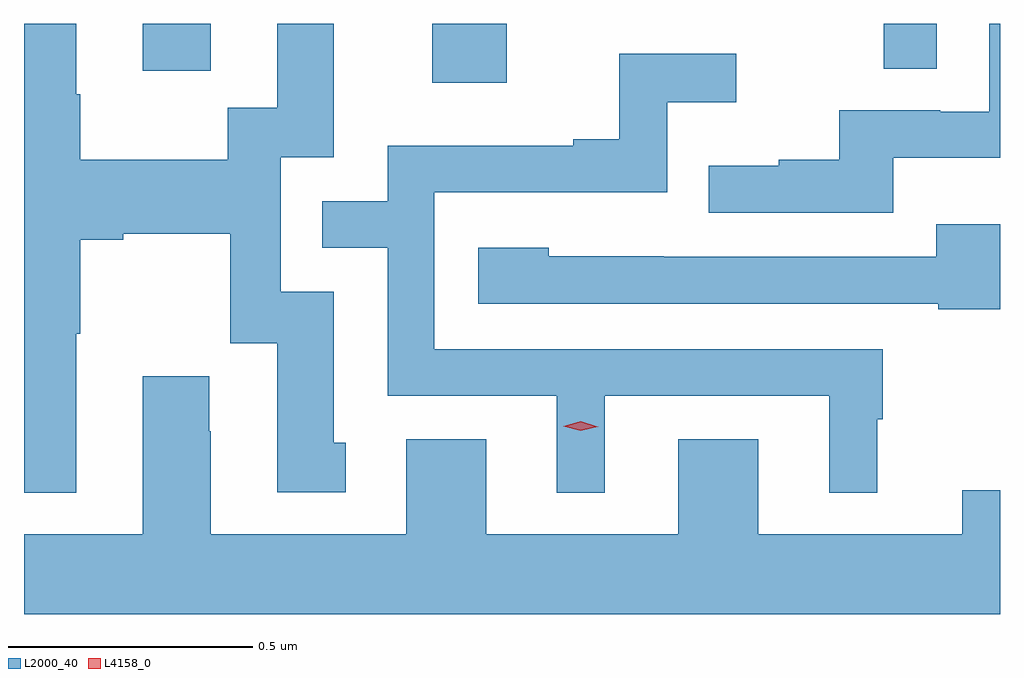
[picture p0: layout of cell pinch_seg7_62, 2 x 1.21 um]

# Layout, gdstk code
import gdstk
lib = gdstk.Library(unit=1e-6, precision=1e-09)
def R(c, l, rs):  # rectangles x0, y0, x1, y1
    for r in rs: c.add(gdstk.rectangle(r[:2], r[2:], *l))
def P(c, l, *ps):  # polygons
    for p in ps: c.add(gdstk.Polygon(p, *l))
L2000_40 = (2000, 40)
L4158_0 = (4158, 0)

pinch_seg7_62 = lib.new_cell('pinch_seg7_62')
R(pinch_seg7_62, L2000_40, [(889.577,1080.294,889.729,1080.415), (888.983,1080.318,889.123,1080.415), (890.502,1080.322,890.61,1080.415)])
P(pinch_seg7_62, L2000_40, [(890.521,1080.14),(890.74,1080.14),(890.74,1080.415),(890.718,1080.415),(890.718,1080.234),(890.618,1080.234),(890.618,1080.237),(890.411,1080.237),(890.411,1080.136),(890.287,1080.136),(890.287,1080.124),(890.143,1080.124),(890.143,1080.027),(890.521,1080.027)],
  [(888.847,1079.779),(888.855,1079.779),(888.855,1079.972),(888.943,1079.972),(888.943,1079.984),(889.163,1079.984),(889.163,1079.76),(889.259,1079.76),(889.259,1079.454),(889.399,1079.454),(889.399,1079.556),(889.375,1079.556),(889.375,1079.865),(889.266,1079.865),(889.266,1080.141),(889.375,1080.141),(889.375,1080.415),(889.259,1080.415),(889.259,1080.242),(889.158,1080.242),(889.158,1080.136),(888.855,1080.136),(888.855,1080.27),(888.847,1080.27),(888.847,1080.415),(888.74,1080.415),(888.74,1079.453),(888.847,1079.453)],
  [(889.93,1079.652),(890.39,1079.652),(890.39,1079.453),(890.488,1079.453),(890.488,1079.604),(890.5,1079.604),(890.5,1079.748),(889.581,1079.748),(889.581,1080.069),(890.058,1080.069),(890.058,1080.254),(890.2,1080.254),(890.2,1080.353),(889.96,1080.353),(889.96,1080.178),(889.865,1080.178),(889.865,1080.165),(889.485,1080.165),(889.485,1080.051),(889.351,1080.051),(889.351,1079.955),(889.485,1079.955),(889.485,1079.652),(889.832,1079.652),(889.832,1079.453),(889.93,1079.453)],
  [(890.74,1080.004),(890.609,1080.004),(890.609,1079.937),(890.051,1079.937),(890.051,1079.938),(889.815,1079.938),(889.815,1079.956),(889.671,1079.956),(889.671,1079.841),(890.613,1079.841),(890.613,1079.829),(890.74,1079.829)],
  [(890.74,1079.459),(890.663,1079.459),(890.663,1079.368),(890.245,1079.368),(890.245,1079.563),(890.081,1079.563),(890.081,1079.368),(889.687,1079.368),(889.687,1079.563),(889.523,1079.563),(889.523,1079.368),(889.123,1079.368),(889.123,1079.579),(889.12,1079.579),(889.12,1079.692),(888.983,1079.692),(888.983,1079.368),(888.74,1079.368),(888.74,1079.204),(890.74,1079.204)])
P(pinch_seg7_62, L4158_0, [(889.881,1079.58),(889.845,1079.59),(889.845,1079.59),(889.845,1079.59),(889.881,1079.6),(889.916,1079.589),(889.917,1079.589),(889.916,1079.589)])

lib.write_gds('pinch_seg7_62.gds')
